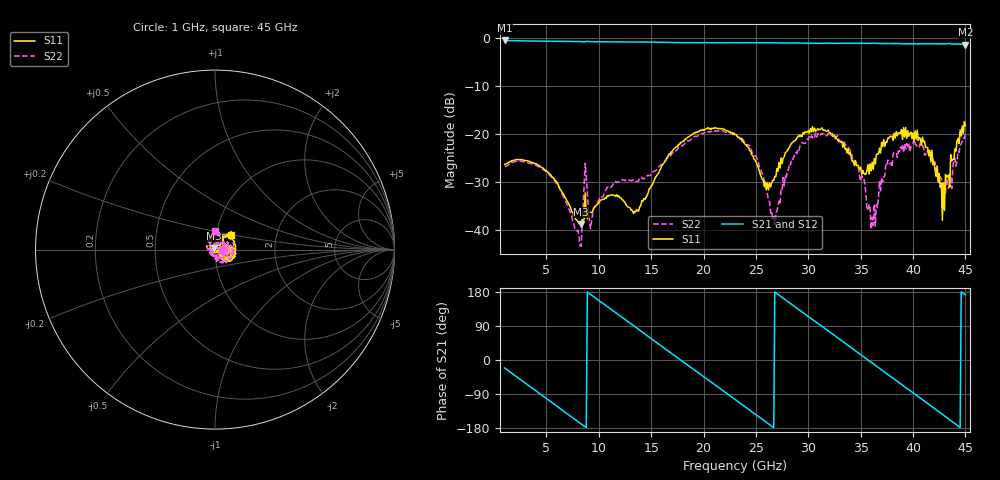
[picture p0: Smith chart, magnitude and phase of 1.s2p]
!Keysight Technologies,N5247B,MY61255062,A.19.80.06
!Date: Monday, May 18, 2026 11:59:10
!Correction: S11(Cdelta 2-Port  )
!S21(Cdelta 2-Port  )
!S12(Cdelta 2-Port  )
!S22(Cdelta 2-Port  )
!S2P File: Measurements: S11, S21, S12, S22:
# Hz S  dB  R 50
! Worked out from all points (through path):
!   441 points, 1 GHz to 45 GHz, reference 50 ohm
!   highest |S21| = -0.42 dB at 1 GHz (marker M1); lowest = -1.3 dB at 45 GHz (marker M2)
!   group delay of S21, straight-line fit = 55.9 ps
!   lowest |S11| = -38.8 dB at 8.3 GHz (marker M3), VSWR 1.02, Z = 49.2 + j0.86 ohm
!   |S11| at or under -10 dB: start of sweep to end of sweep
!   |S22| runs from -43.4 to -19.2 dB; largest |S21 - S12| = 0.015
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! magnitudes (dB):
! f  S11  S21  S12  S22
! 1 GHz  -26.3  -0.4  -0.4  -26.7
! 4.9 GHz  -27.5  -0.6  -0.6  -27.7
! 8.3 GHz  -38.8  -0.7  -0.7  -43.4
! 8.4 GHz  -37.9  -0.7  -0.7  -39.7
! 8.7 GHz  -32.3  -0.7  -0.7  -26.1
! 9.3 GHz  -36.4  -0.7  -0.7  -38.2
! 10.8 GHz  -32.9  -0.7  -0.7  -31.1
! 13.6 GHz  -35.7  -0.7  -0.7  -29.9
! 15.7 GHz  -28.2  -0.8  -0.8  -26.9
! 19.1 GHz  -19.8  -0.9  -0.9  -20.5
! 23 GHz  -20.1  -0.9  -0.9  -20.0
! 25.1 GHz  -26.4  -0.9  -0.9  -25.2
! 26.7 GHz  -29.6  -0.9  -0.9  -37.2
! 28.6 GHz  -21.5  -0.9  -1.0  -24.8
! 30.4 GHz  -18.4  -1.0  -1.0  -20.8
! 33.9 GHz  -24.2  -1.0  -1.0  -23.0
! 36.2 GHz  -27.4  -1.0  -1.0  -39.1
! 37.7 GHz  -20.8  -1.1  -1.1  -26.1
! 41.1 GHz  -21.4  -1.1  -1.1  -24.4
! 42.8 GHz  -38.0  -1.1  -1.1  -30.2
! 43.5 GHz  -31.1  -1.0  -1.1  -29.6
! 45 GHz  -18.2  -1.3  -1.3  -19.8
